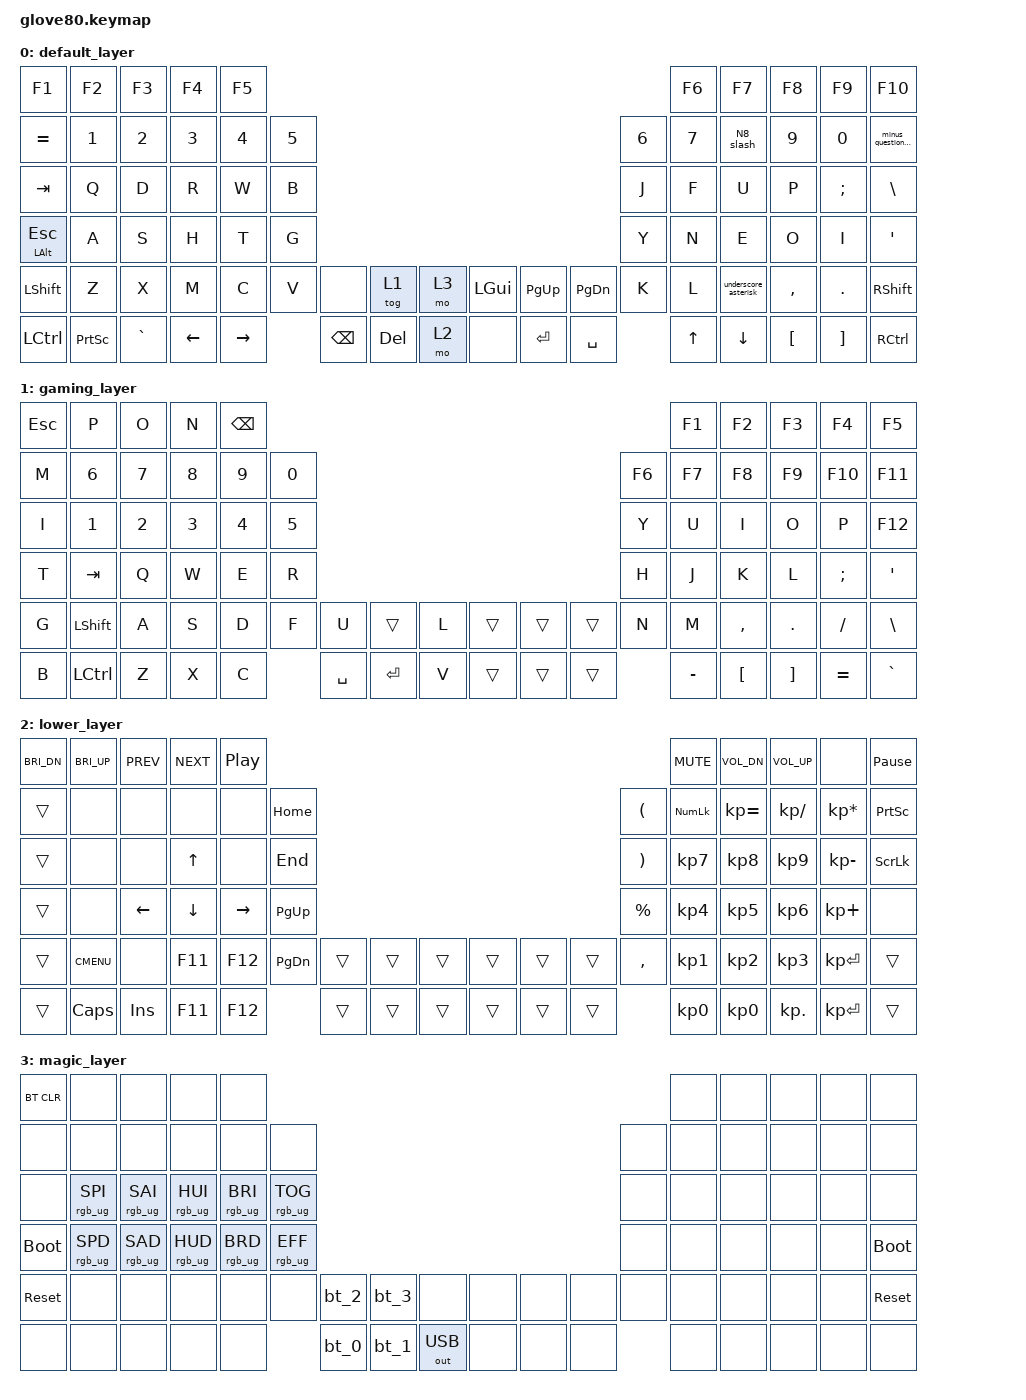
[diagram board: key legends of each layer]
/*
 * Copyright (c) 2020 The ZMK Contributors
 *
 * SPDX-License-Identifier: MIT
 */

#include <behaviors.dtsi>
#include <dt-bindings/zmk/bt.h>
#include <dt-bindings/zmk/keys.h>
#include <dt-bindings/zmk/outputs.h>
#include <dt-bindings/zmk/rgb.h>

// layers

#define DEFAULT 0
#define LOWER 1
#define MAGIC 2

/ {
    behaviors {
        underscore_asterisk: underscore_asterisk {
            compatible = "zmk,behavior-mod-morph";
            label = "UNDERSCORE_ASTERISK";
            bindings = <&kp LS(MINUS)>, <&kp LS(N8)>;

            #binding-cells = <0>;
            mods = <(MOD_LSFT|MOD_RSFT)>;
        };

        N8_slash: N8_slash {
            compatible = "zmk,behavior-mod-morph";
            label = "N8_SLASH";
            bindings = <&kp N8>, <&kp SLASH>;

            #binding-cells = <0>;
            mods = <(MOD_LSFT|MOD_RSFT)>;
        };

        minus_questionmark: minus_questionmark {
            compatible = "zmk,behavior-mod-morph";
            label = "MINUS_QUESTIONMARK";
            bindings = <&kp MINUS>, <&kp LS(SLASH)>;

            #binding-cells = <0>;
            mods = <(MOD_LSFT|MOD_RSFT)>;
        };
    };

    macros {
        bt_0: bt_profile_macro_0 {
            compatible = "zmk,behavior-macro";
            #binding-cells = <0>;
            bindings = <&out OUT_BLE &bt BT_SEL 0>;
        };

        bt_1: bt_profile_macro_1 {
            compatible = "zmk,behavior-macro";
            #binding-cells = <0>;
            bindings = <&out OUT_BLE &bt BT_SEL 1>;
        };

        bt_2: bt_profile_macro_2 {
            compatible = "zmk,behavior-macro";
            #binding-cells = <0>;
            bindings = <&out OUT_BLE &bt BT_SEL 2>;
        };

        bt_3: bt_profile_macro_3 {
            compatible = "zmk,behavior-macro";
            #binding-cells = <0>;
            bindings = <&out OUT_BLE &bt BT_SEL 3>;
        };
    };

    keymap {
        compatible = "zmk,keymap";

        default_layer {
            // ---------------------------------------------------------------------------------------------------------------------------------
            // |  F1   |  F2 |  F3 |  F4  |  F5  |                                                               |  F6   |  F7   |  F8  |   F9  |  F10 |
            // |  =    |  1  |  2  |  3   |  4   |  5   |                                                 |  6   |   7   |   8   |  9   |   0   |   -  |
            // |  TAB  |  Q  |  W  |  E   |  R   |  T   |                                                 |  Y   |   U   |   I   |  O   |   P   |   \  |
            // |  ESC  |  A  |  S  |  D   |  F   |  G   |                                                 |  H   |   J   |   K   |  L   |   ;   |   '  |
            // |   `   |  Z  |  X  |  C   |  V   |  B   | LSHFT | LCTRL | LOWER | | LGUI  | RCTRL | RSHFT |  N   |   M   |   ,   |  .   |   /   | PGUP |
            // | MAGIC | HOME| END | LEFT | RIGHT|      | BSPC  | DEL   | LALT  | | RALT  | RET   | SPACE |      |  UP   | DOWN  |  [   |   ]   | PGDN |

            bindings = <
&kp F1               &kp F2           &kp F3     &kp F4    &kp F5                                                                                       &kp F6  &kp F7                &kp F8     &kp F9         &kp F10
&kp EQUAL            &kp N1           &kp N2     &kp N3    &kp N4     &kp N5                                                                    &kp N6  &kp N7  &N8_slash             &kp N9     &kp N0         &minus_questionmark
&kp TAB              &kp Q            &kp D      &kp R     &kp W      &kp B                                                                     &kp J   &kp F   &kp U                 &kp P      &kp SEMICOLON  &kp BSLH
&mt LEFT_ALT ESCAPE  &kp A            &kp S      &kp H     &kp T      &kp G                                                                     &kp Y   &kp N   &kp E                 &kp O      &kp I          &kp APOSTROPHE
&kp LEFT_SHIFT       &kp Z            &kp X      &kp M     &kp C      &kp V   &none     &tog 1   &mo 3    &kp LGUI  &kp PAGE_UP  &kp PAGE_DOWN  &kp K   &kp L   &underscore_asterisk  &kp COMMA  &kp PERIOD     &kp RIGHT_SHIFT
&kp LEFT_CONTROL     &kp PRINTSCREEN  &kp GRAVE  &kp LEFT  &kp RIGHT          &kp BSPC  &kp DEL  &mo 2    &none     &kp ENTER    &kp SPACE              &kp UP  &kp DOWN              &kp LBKT   &kp RBKT       &kp RIGHT_CONTROL
            >;
        };

        gaming_layer {
            bindings = <
&kp ESC  &kp P      &kp O   &kp N   &kp BSPC                                                                         &kp F1     &kp F2     &kp F3    &kp F4     &kp F5
&kp M    &kp N6     &kp N7  &kp N8  &kp N9    &kp N0                                                         &kp F6  &kp F7     &kp F8     &kp F9    &kp F10    &kp F11
&kp I    &kp N1     &kp N2  &kp N3  &kp N4    &kp N5                                                         &kp Y   &kp U      &kp I      &kp O     &kp P      &kp F12
&kp T    &kp TAB    &kp Q   &kp W   &kp E     &kp R                                                          &kp H   &kp J      &kp K      &kp L     &kp SEMI   &kp APOS
&kp G    &kp LSHFT  &kp A   &kp S   &kp D     &kp F   &kp U      &trans     &kp L    &trans  &trans  &trans  &kp N   &kp M      &kp COMMA  &kp DOT   &kp FSLH   &kp BSLH
&kp B    &kp LCTRL  &kp Z   &kp X   &kp C             &kp SPACE  &kp ENTER  &kp V    &trans  &trans  &trans          &kp MINUS  &kp LBKT   &kp RBKT  &kp EQUAL  &kp GRAVE
            >;
        };

        lower_layer {
            bindings = <
&kp C_BRI_DN  &kp C_BRI_UP  &kp C_PREV  &kp C_NEXT  &kp C_PP                                                                           &kp C_MUTE  &kp C_VOL_DN  &kp C_VOL_UP   &none            &kp PAUSE_BREAK
&trans        &none         &none       &none       &none      &kp HOME                                                     &kp LPAR   &kp KP_NUM  &kp KP_EQUAL  &kp KP_DIVIDE  &kp KP_MULTIPLY  &kp PSCRN
&trans        &none         &none       &kp UP      &none      &kp END                                                      &kp RPAR   &kp KP_N7   &kp KP_N8     &kp KP_N9      &kp KP_MINUS     &kp SLCK
&trans        &none         &kp LEFT    &kp DOWN    &kp RIGHT  &kp PG_UP                                                    &kp PRCNT  &kp KP_N4   &kp KP_N5     &kp KP_N6      &kp KP_PLUS      &none
&trans        &kp K_CMENU   &none       &kp F11     &kp F12    &kp PG_DN  &trans  &trans  &trans    &trans  &trans  &trans  &kp COMMA  &kp KP_N1   &kp KP_N2     &kp KP_N3      &kp KP_ENTER     &trans
&trans        &kp CAPS      &kp INS     &kp F11     &kp F12               &trans  &trans  &trans    &trans  &trans  &trans             &kp KP_N0   &kp KP_N0     &kp KP_DOT     &kp KP_ENTER     &trans
            >;
        };

        magic_layer {
            bindings = <
&bt BT_CLR   &none            &none            &none            &none                                                                                       &none  &none  &none  &none  &none
&none        &none            &none            &none            &none            &none                                                               &none  &none  &none  &none  &none  &none
&none        &rgb_ug RGB_SPI  &rgb_ug RGB_SAI  &rgb_ug RGB_HUI  &rgb_ug RGB_BRI  &rgb_ug RGB_TOG                                                     &none  &none  &none  &none  &none  &none
&bootloader  &rgb_ug RGB_SPD  &rgb_ug RGB_SAD  &rgb_ug RGB_HUD  &rgb_ug RGB_BRD  &rgb_ug RGB_EFF                                                     &none  &none  &none  &none  &none  &bootloader
&sys_reset   &none            &none            &none            &none            &none            &bt_2  &bt_3  &none           &none  &none  &none  &none  &none  &none  &none  &none  &sys_reset
&none        &none            &none            &none            &none                             &bt_0  &bt_1  &out OUT_USB    &none  &none  &none         &none  &none  &none  &none  &none
            >;
        };
    };
};
